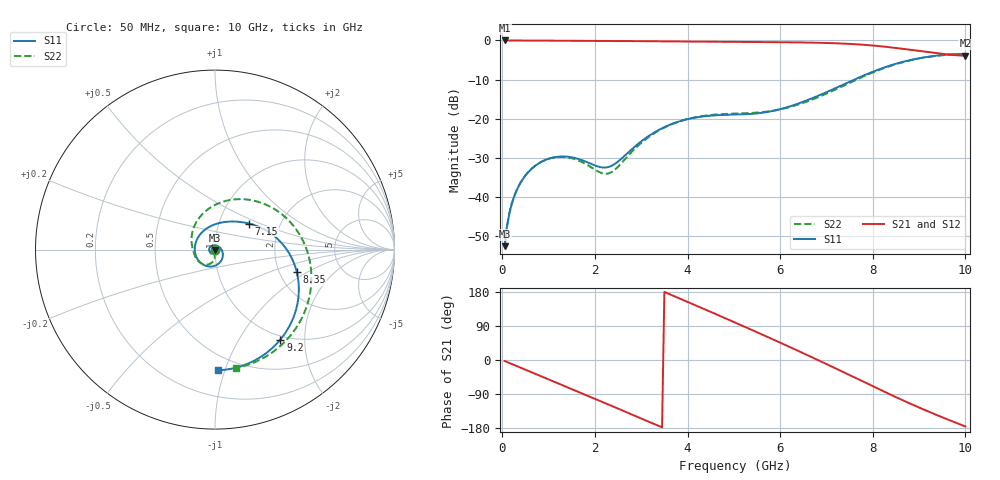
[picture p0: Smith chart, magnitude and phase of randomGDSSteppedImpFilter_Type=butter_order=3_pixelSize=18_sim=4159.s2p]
! freq	dB(S11)	phase(S11)	dB(S12)	phase(S12)
!  dB(S21)	phase(S21)	dB(S22)	phase(S22)
!S-par simulation data
#  GHz  S  DB  R 50
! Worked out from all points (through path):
!   200 points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, 50 MHz to 10 GHz, reference 50 ohm
!   highest |S21| = -0.01 dB at 50 MHz (marker M1); lowest = -3.9 dB at 10 GHz (marker M2)
!   group delay of S21, straight-line fit = 150 ps
!   lowest |S11| = -52.5 dB at 50 MHz (marker M3), VSWR 1.00, Z = 50.1 - j0.217 ohm
!   |S11| at or under -10 dB: start of sweep to 7.601 GHz
!   |S22| runs from -52.5 to -3.5 dB; largest |S21 - S12| = 0
!   S11 on the Smith chart (normalised r, x): 50 MHz: 1.00, -0.00; 7.15 GHz: 1.39, +0.43; 8.35 GHz: 2.49, -0.81; 9.2 GHz: 0.94, -1.53; 10 GHz: 0.39, -0.95
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0.05  -52.50 -66.1  -0.01 -2.6  -0.01 -2.6  -52.49 -66.5
0.1  -47.55 -83.9  -0.02 -5.2  -0.02 -5.2  -47.58 -82.3
0.2  -41.89 -96.5  -0.02 -10.3  -0.02 -10.3  -41.83 -92.7
0.55  -33.77 -122.8  -0.04 -28.2  -0.04 -28.2  -33.71 -112.0
1.1  -29.87 -161.0  -0.07 -56.3  -0.07 -56.3  -29.92 -134.9
1.75  -30.68 143.5  -0.11 -89.6  -0.11 -89.6  -31.21 -149.4
2.3  -32.28 61.9  -0.14 -117.9  -0.14 -117.9  -33.91 -118.9
2.9  -26.72 -22.0  -0.19 -149.1  -0.19 -149.1  -27.22 -91.6
3.4  -22.71 -64.5  -0.24 -175.1  -0.24 -175.1  -22.85 -102.2
4.15  -19.73 -117.8  -0.32 145.5  -0.32 145.5  -19.64 -128.3
4.6  -19.12 -149.8  -0.36 121.7  -0.36 121.7  -18.92 -144.4
5.05  -18.93 176.1  -0.39 97.7  -0.39 97.7  -18.67 -159.5
5.4  -18.73 148.0  -0.42 78.8  -0.42 78.8  -18.50 -170.7
5.8  -18.09 116.2  -0.44 56.9  -0.44 56.9  -18.02 175.5
6.25  -16.68 84.2  -0.49 31.9  -0.49 31.9  -16.87 155.9
6.7  -14.72 58.4  -0.57 6.5  -0.57 6.5  -15.07 130.0
7.15  -12.42 37.3  -0.71 -19.3  -0.71 -19.3  -12.78 99.2
7.8  -8.98 9.2  -1.11 -57.4  -1.11 -57.4  -9.20 52.0
8.35  -6.51 -15.4  -1.72 -89.5  -1.72 -89.5  -6.63 14.0
8.8  -5.04 -36.0  -2.38 -114.7  -2.38 -114.7  -5.11 -14.7
9.2  -4.16 -54.0  -3.01 -135.9  -3.01 -135.9  -4.21 -38.1
10  -3.44 -88.5  -3.94 -175.4  -3.94 -175.4  -3.49 -80.0
